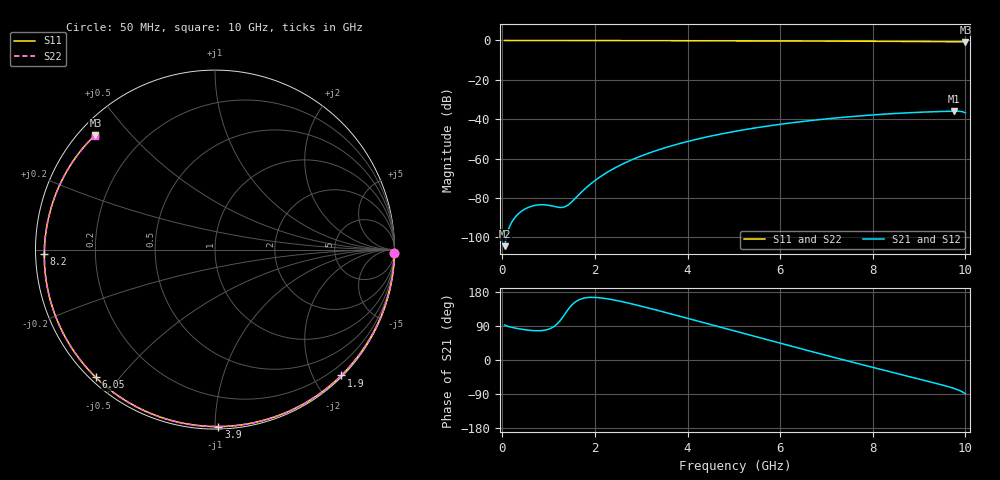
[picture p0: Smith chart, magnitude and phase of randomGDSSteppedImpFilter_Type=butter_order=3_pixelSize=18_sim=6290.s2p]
! freq	dB(S11)	phase(S11)	dB(S12)	phase(S12)
!  dB(S21)	phase(S21)	dB(S22)	phase(S22)
!S-par simulation data
#  GHz  S  DB  R 50
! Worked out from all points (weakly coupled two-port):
!   200 points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, 50 MHz to 10 GHz, reference 50 ohm
!   highest |S21| = -35.93 dB at 9.75 GHz (marker M1); lowest = -104.4 dB at 50 MHz (marker M2)
!   lowest |S11| = -0.7 dB at 10 GHz (marker M3), VSWR 24.73, Z = 2.35 + j20 ohm
!   |S11| at or under -10 dB: nowhere
!   |S22| runs from -0.7 to 0.0 dB; largest |S21 - S12| = 0
!   S11 on the Smith chart (normalised r, x): 50 MHz: 0, -95; 1.9 GHz: 0.02, -2.42; 3.9 GHz: 0.01, -1.02; 6.05 GHz: 0.02, -0.43; 8.2 GHz: 0.02, -0.01; 10 GHz: 0.05, +0.40
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0.05  -0.00 -1.2  -104.44 92.3  -104.44 92.3  -0.00 -1.2
0.75  -0.02 -18.0  -83.56 77.1  -83.56 77.1  -0.02 -18.0
1.55  -0.05 -36.8  -80.80 150.6  -80.80 150.6  -0.05 -36.8
1.6  -0.05 -38.0  -79.60 155.1  -79.60 155.1  -0.05 -38.0
1.75  -0.05 -41.4  -76.10 162.9  -76.10 162.9  -0.05 -41.4
1.9  -0.06 -44.9  -72.99 165.3  -72.99 165.3  -0.06 -44.9
2.2  -0.07 -51.7  -67.89 162.7  -67.89 162.7  -0.07 -51.7
2.55  -0.08 -59.6  -63.28 154.9  -63.28 154.9  -0.08 -59.6
2.95  -0.09 -68.5  -59.10 143.5  -59.10 143.5  -0.09 -68.5
3.4  -0.10 -78.2  -55.32 129.5  -55.32 129.5  -0.10 -78.2
3.9  -0.12 -88.9  -51.90 113.2  -51.90 113.2  -0.12 -88.9
4.45  -0.14 -100.4  -48.81 95.1  -48.81 95.1  -0.14 -100.4
5.05  -0.17 -112.7  -46.04 75.2  -46.04 75.2  -0.17 -112.7
6.05  -0.23 -133.0  -42.41 42.5  -42.41 42.5  -0.23 -133.0
6.7  -0.28 -146.3  -40.56 21.6  -40.56 21.6  -0.28 -146.2
7.45  -0.35 -162.0  -38.83 -2.2  -38.83 -2.2  -0.35 -161.9
8.2  -0.43 -178.4  -37.48 -25.7  -37.48 -25.7  -0.43 -178.3
8.35  -0.45 178.1  -37.26 -30.3  -37.26 -30.3  -0.45 178.3
9.05  -0.54 161.5  -36.42 -51.9  -36.42 -51.9  -0.54 161.6
9.75  -0.64 143.2  -35.93 -74.8  -35.93 -74.8  -0.64 143.5
9.9  -0.67 139.1  -36.04 -82.0  -36.04 -82.0  -0.67 139.3
10  -0.70 136.3  -36.78 -89.2  -36.78 -89.2  -0.70 136.5
